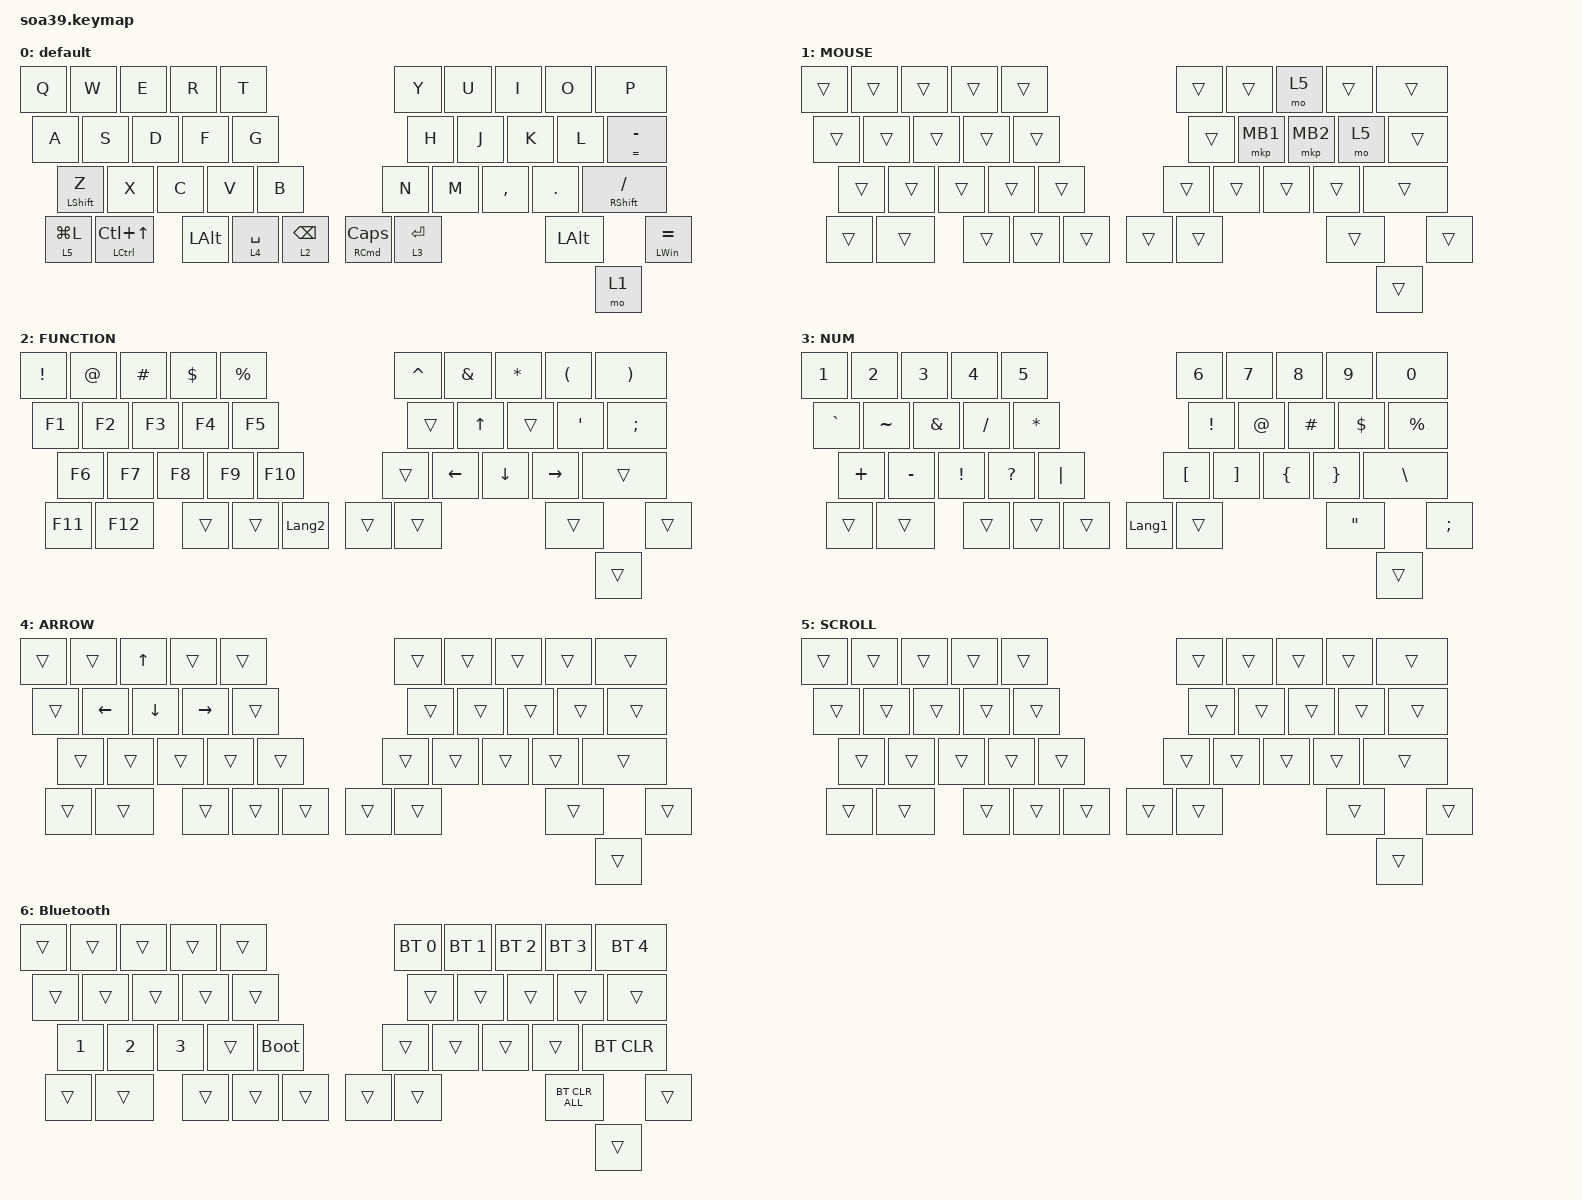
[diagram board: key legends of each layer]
#include <behaviors.dtsi>
#include <dt-bindings/zmk/bt.h>
#include <dt-bindings/zmk/keys.h>
#include <dt-bindings/zmk/pointing.h>

&mt {
    flavor = "balanced";
    quick-tap-ms = <0>;
};

/ {
    behaviors {
    };

    combos {
        compatible = "zmk,combos";

        tab {
            bindings = <&kp TAB>;
            key-positions = <10 11>;
        };

        esc {
            bindings = <&kp ESCAPE>;
            key-positions = <0 1>;
        };

        l_p {
            bindings = <&kp LEFT_PARENTHESIS>;
            key-positions = <12 13>;
        };

        r_p {
            bindings = <&kp RIGHT_PARENTHESIS>;
            key-positions = <13 14>;
        };

        l_disp {
            bindings = <&kp LA(LC(D))>;
            key-positions = <20 21>;
        };

        c_disp {
            bindings = <&kp LA(LC(F))>;
            key-positions = <21 22>;
        };

        r_disp {
            bindings = <&kp LA(LC(G))>;
            key-positions = <22 23>;
        };

        full_disp {
            bindings = <&kp LA(LC(ENTER))>;
            key-positions = <23 24>;
        };
    };

    macros {
        to_layer_0: to_layer_0 {
            compatible = "zmk,behavior-macro-one-param";
            #binding-cells = <1>;
            bindings = <&to 0 &macro_param_1to1 &kp MACRO_PLACEHOLDER>;
            label = "TO_LAYER_0";
        };

        mission: mission {
            compatible = "zmk,behavior-macro";
            #binding-cells = <0>;
            bindings = <&kp LC(UP_ARROW)>;
            label = "MISSION";
        };

        launch: launch {
            compatible = "zmk,behavior-macro";
            #binding-cells = <0>;
            bindings = <&kp RG(L)>;
            label = "LAUNCH";
        };
    };

    behaviors {
        lt_to_layer_0: lt_to_layer_0 {
            compatible = "zmk,behavior-hold-tap";
            label = "LAYER_TAP_TO_0";
            bindings = <&mo>, <&to_layer_0>;

            #binding-cells = <2>;
            tapping-term-ms = <200>;
        };
    };

    keymap {
        compatible = "zmk,keymap";

        default {
            bindings = <
&kp Q             &kp W                   &kp E         &kp R        &kp T            &kp Y                       &kp U        &kp I         &kp O               &kp P
&kp A             &kp S                   &kp D         &kp F        &kp G            &kp H                       &kp J        &kp K         &kp L               &mt EQUAL MINUS
&mt LEFT_SHIFT Z  &kp X                   &kp C         &kp V        &kp B            &kp N                       &kp M        &kp COMMA     &kp PERIOD          &mt RIGHT_SHIFT SLASH
&lt 5 LG(L)       &mt LCTRL LC(UP_ARROW)  &kp LEFT_ALT  &lt 4 SPACE  &lt 2 BACKSPACE  &mt RIGHT_COMMAND CAPSLOCK  &lt 3 ENTER  &kp LEFT_ALT  &mt LEFT_WIN EQUAL  &mo 1
            >;
        };

        MOUSE {
            bindings = <
&trans  &trans  &trans  &trans  &trans  &trans  &trans    &mo 5     &trans  &trans
&trans  &trans  &trans  &trans  &trans  &trans  &mkp MB1  &mkp MB2  &mo 5   &trans
&trans  &trans  &trans  &trans  &trans  &trans  &trans    &trans    &trans  &trans
&trans  &trans  &trans  &trans  &trans  &trans  &trans    &trans    &trans  &trans
            >;
        };

        FUNCTION {
            bindings = <
&kp EXCLAMATION  &kp AT_SIGN  &kp HASH  &kp DOLLAR  &kp PERCENT     &kp CARET  &kp AMPERSAND  &kp ASTERISK  &kp LEFT_PARENTHESIS  &kp RIGHT_PARENTHESIS
&kp F1           &kp F2       &kp F3    &kp F4      &kp F5          &trans     &kp UP         &trans        &kp SQT               &kp SEMICOLON
&kp F6           &kp F7       &kp F8    &kp F9      &kp F10         &trans     &kp LEFT       &kp DOWN      &kp RIGHT             &trans
&kp F11          &kp F12      &trans    &trans      &kp LANGUAGE_2  &trans     &trans         &trans        &trans  &trans
            >;
        };

        NUM {
            bindings = <
&kp N1     &kp N2     &kp N3           &kp N4        &kp N5     &kp N6            &kp N7             &kp N8             &kp N9           &kp N0
&kp GRAVE  &kp TILDE  &kp AMPERSAND    &kp SLASH     &kp ASTRK  &kp EXCLAMATION   &kp AT_SIGN        &kp HASH           &kp DOLLAR       &kp PERCENT
&kp PLUS   &kp MINUS  &kp EXCLAMATION  &kp QUESTION  &kp PIPE   &kp LEFT_BRACKET  &kp RIGHT_BRACKET  &kp LEFT_BRACE     &kp RIGHT_BRACE  &kp BSLH
&trans     &trans     &trans           &trans        &trans     &kp LANGUAGE_1    &trans             &kp DOUBLE_QUOTES  &kp SEMICOLON  &trans
            >;
        };

        ARROW {
            bindings = <
&trans  &trans    &kp UP    &trans     &trans  &trans  &trans  &trans  &trans  &trans
&trans  &kp LEFT  &kp DOWN  &kp RIGHT  &trans  &trans  &trans  &trans  &trans  &trans
&trans  &trans    &trans    &trans     &trans  &trans  &trans  &trans  &trans  &trans
&trans  &trans    &trans    &trans     &trans  &trans  &trans  &trans  &trans  &trans
            >;
        };

        SCROLL {
            bindings = <
&trans  &trans  &trans  &trans  &trans  &trans  &trans  &trans  &trans  &trans
&trans  &trans  &trans  &trans  &trans  &trans  &trans  &trans  &trans  &trans
&trans  &trans  &trans  &trans  &trans  &trans  &trans  &trans  &trans  &trans
&trans  &trans  &trans  &trans  &trans  &trans  &trans  &trans  &trans  &trans
            >;
        };

        Bluetooth {
            bindings = <
&trans        &trans        &trans        &trans  &trans       &bt BT_SEL 0  &bt BT_SEL 1  &bt BT_SEL 2    &bt BT_SEL 3  &bt BT_SEL 4
&trans        &trans        &trans        &trans  &trans       &trans        &trans        &trans          &trans        &trans
&kp NUMBER_1  &kp NUMBER_2  &kp NUMBER_3  &trans  &bootloader  &trans        &trans        &trans          &trans        &bt BT_CLR
&trans        &trans        &trans        &trans  &trans       &trans        &trans        &bt BT_CLR_ALL  &trans  &trans
            >;
        };
    };
};
